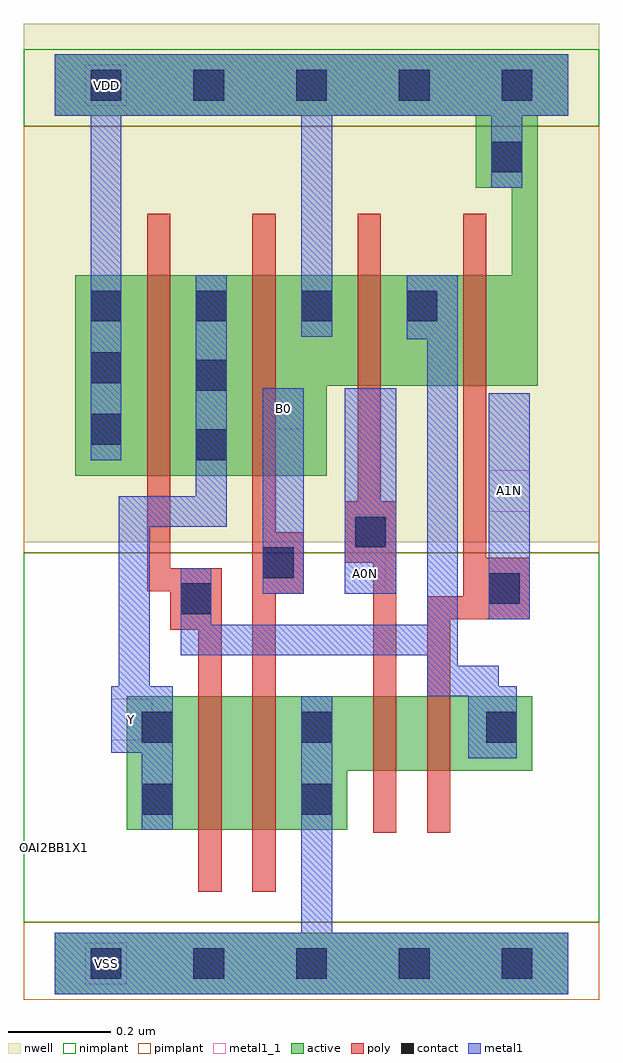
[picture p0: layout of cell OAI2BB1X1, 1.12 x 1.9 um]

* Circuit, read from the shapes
.subckt OAI2BB1X1 A0N A1N B0 VDD VSS Y
M1 n1 n2 Y VSS nfet w=0.26u l=0.045u
M2 VSS B0 n1 VSS nfet w=0.26u l=0.045u
M3 n3 A0N VSS VSS nfet w=0.145u l=0.045u
M4 n2 A1N n3 VSS nfet w=0.145u l=0.045u
M5 Y n2 VDD VDD pfet w=0.39u l=0.045u
M6 VDD B0 Y VDD pfet w=0.39u l=0.045u
M7 n2 A0N VDD VDD pfet w=0.215u l=0.045u
M8 VDD A1N n2 VDD pfet w=0.215u l=0.045u
.ends

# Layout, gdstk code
import gdstk
lib = gdstk.Library(unit=1e-6, precision=5e-10)
def R(c, l, rs):  # rectangles x0, y0, x1, y1
    for r in rs: c.add(gdstk.rectangle(r[:2], r[2:], *l))
def A(c, l, x, y, w, h, nx, ny, dx, dy):  # array of equal rectangles
    R(c, l, [(x+i*dx, y+j*dy, x+i*dx+w, y+j*dy+h) for i in range(nx) for j in range(ny)])
def P(c, l, *ps):  # polygons
    for p in ps: c.add(gdstk.Polygon(p, *l))
active = (1, 0)
nwell = (2, 0)
poly = (3, 0)
nimplant = (4, 0)
pimplant = (5, 0)
contact = (6, 0)
metal1 = (7, 0)
metal1_1 = (7, 1)

oai2bb1x1 = lib.new_cell('OAI2BB1X1')
R(oai2bb1x1, active, [(0,-0.06,1,0.06)])
P(oai2bb1x1, active, [(1,1.77),(0,1.77),(0,1.65),(0.82,1.65),(0.82,1.51),(0.89,1.51),(0.89,1.34),(0.04,1.34),(0.04,0.95),(0.53,0.95),(0.53,1.125),(0.94,1.125),(0.94,1.65),(1,1.65)],
  [(0.93,0.52),(0.14,0.52),(0.14,0.26),(0.57,0.26),(0.57,0.375),(0.93,0.375)])
R(oai2bb1x1, nwell, [(-0.06,0.82,1.06,1.83)])
P(oai2bb1x1, poly, [(0.925,0.79),(0.84,0.79),(0.84,1.46),(0.795,1.46),(0.795,0.715),(0.725,0.715),(0.725,0.255),(0.77,0.255),(0.77,0.67),(0.925,0.67)],
  [(0.665,0.9),(0.635,0.9),(0.635,1.46),(0.59,1.46),(0.59,0.9),(0.565,0.9),(0.565,0.78),(0.62,0.78),(0.62,0.255),(0.665,0.255)],
  [(0.485,0.84),(0.43,0.84),(0.43,1.46),(0.385,1.46),(0.385,0.14),(0.43,0.14),(0.43,0.72),(0.485,0.72)],
  [(0.325,0.77),(0.225,0.77),(0.225,1.46),(0.18,1.46),(0.18,0.725),(0.225,0.725),(0.225,0.65),(0.28,0.65),(0.28,0.14),(0.325,0.14)])
R(oai2bb1x1, nimplant, [(-0.06,0.08,1.06,0.8), (-0.06,1.63,1.06,1.78)])
R(oai2bb1x1, pimplant, [(-0.06,-0.07,1.06,0.08), (-0.06,0.8,1.06,1.63)])
A(oai2bb1x1, contact, 0.07, -0.03, 0.06, 0.06, 5, 2, 0.2, 1.71)
A(oai2bb1x1, contact, 0.07, 1.25, 0.06, 0.06, 4, 1, 0.205, 0)
R(oai2bb1x1, contact, [(0.17,0.29,0.23,0.35), (0.48,0.29,0.54,0.35), (0.17,0.43,0.23,0.49), (0.48,0.43,0.54,0.49), (0.84,0.43,0.9,0.49), (0.245,0.68,0.305,0.74), (0.845,0.7,0.905,0.76), (0.405,0.75,0.465,0.81), (0.585,0.81,0.645,0.87), (0.275,0.98,0.335,1.04), (0.07,1.01,0.13,1.07), (0.275,1.115,0.335,1.175), (0.07,1.13,0.13,1.19), (0.85,1.54,0.91,1.6)])
R(oai2bb1x1, metal1, [(0.845,0.67,0.925,1.11), (0.405,0.72,0.485,1.12), (0.565,0.72,0.665,1.12)])
P(oai2bb1x1, metal1, [(1,1.77),(0,1.77),(0,1.65),(0.07,1.65),(0.07,0.98),(0.13,0.98),(0.13,1.65),(0.48,1.65),(0.48,1.22),(0.54,1.22),(0.54,1.65),(0.85,1.65),(0.85,1.51),(0.91,1.51),(0.91,1.65),(1,1.65)],
  [(1,0.06),(0.54,0.06),(0.54,0.52),(0.48,0.52),(0.48,0.06),(0,0.06),(0,-0.06),(1,-0.06)],
  [(0.9,0.54),(0.865,0.54),(0.865,0.58),(0.785,0.58),(0.785,1.34),(0.685,1.34),(0.685,1.215),(0.725,1.215),(0.725,0.66),(0.305,0.66),(0.305,0.77),(0.245,0.77),(0.245,0.6),(0.725,0.6),(0.725,0.52),(0.805,0.52),(0.805,0.4),(0.9,0.4)],
  [(0.335,1.34),(0.275,1.34),(0.275,0.91),(0.125,0.91),(0.125,0.54),(0.11,0.54),(0.11,0.41),(0.17,0.41),(0.17,0.26),(0.23,0.26),(0.23,0.54),(0.185,0.54),(0.185,0.85),(0.335,0.85)])
R(oai2bb1x1, metal1_1, [(0.06,-0.04,0.14,0.04), (0.11,0.435,0.19,0.515), (0.565,0.72,0.645,0.8), (0.845,0.88,0.925,0.96), (0.405,1.04,0.485,1.12), (0.06,1.67,0.14,1.75)])
oai2bb1x1.add(gdstk.Label('A0N', (0.605,0.76), layer=7, texttype=1))
oai2bb1x1.add(gdstk.Label('VSS', (0.1,0), layer=7, texttype=1))
oai2bb1x1.add(gdstk.Label('B0', (0.445,1.08), layer=7, texttype=1))
oai2bb1x1.add(gdstk.Label('VDD', (0.1,1.71), layer=7, texttype=1))
oai2bb1x1.add(gdstk.Label('A1N', (0.885,0.92), layer=7, texttype=1))
oai2bb1x1.add(gdstk.Label('Y', (0.15,0.475), layer=7, texttype=1))
oai2bb1x1.add(gdstk.Label('OAI2BB1X1', (0,0.225), layer=63, texttype=0))

lib.write_gds('OAI2BB1X1.gds')
